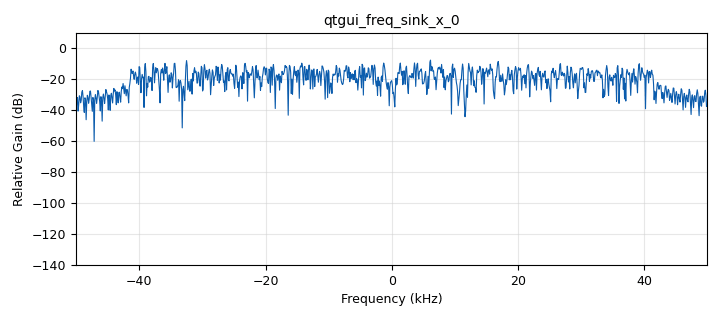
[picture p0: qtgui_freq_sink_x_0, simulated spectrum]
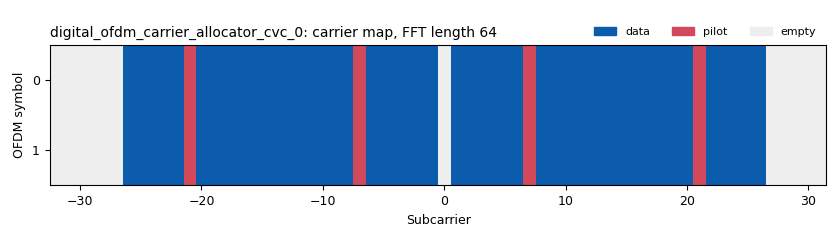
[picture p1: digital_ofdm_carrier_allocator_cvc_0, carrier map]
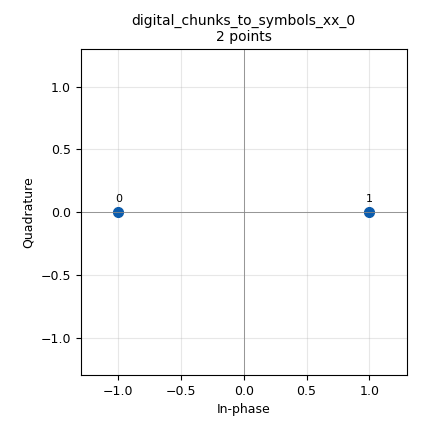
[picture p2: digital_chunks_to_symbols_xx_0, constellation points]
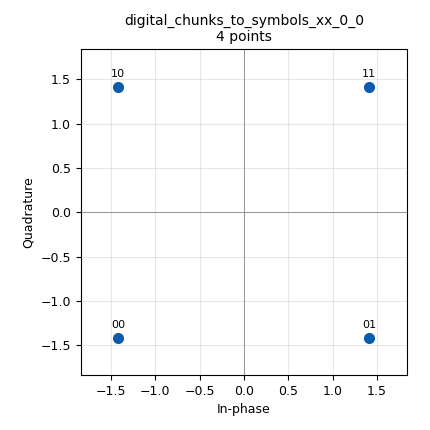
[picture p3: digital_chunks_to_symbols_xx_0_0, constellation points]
options:
  parameters:
    author: survivor
    generate_options: qt_gui
    id: OFDM
    output_language: python
    title: Not titled yet
  states: {}

blocks:
- name: fft_len
  id: variable
  parameters:
    value: '64'
  states: {}
- name: header_formatter
  id: variable
  parameters:
    value: digital.packet_header_ofdm(occupied_carriers, n_syms=1, len_tag_key=length_tag_key, frame_len_tag_key=length_tag_key, bits_per_header_sym=header_mod.bits_per_symbol(), bits_per_payload_sym=payload_mod.bits_per_symbol(), scramble_header=False)
  states: {}
- name: header_mod
  id: variable
  parameters:
    value: digital.constellation_bpsk()
  states: {}
- name: length_tag_key
  id: variable
  parameters:
    value: '"packet_length"'
  states: {}
- name: occupied_carriers
  id: variable
  parameters:
    value: (list(range(-26, -21)) + list(range(-20, -7)) + list(range(-6, 0)) + list(range(1, 7)) + list(range(8, 21)) + list(range(22, 27)),)
  states: {}
- name: packet_length
  id: variable
  parameters:
    value: '128'
  states: {}
- name: payload_mod
  id: variable
  parameters:
    value: digital.constellation_qpsk()
  states: {}
- name: pilot_carriers
  id: variable
  parameters:
    value: ((-21, -7, 7, 21,),)
  states: {}
- name: pilot_symbols
  id: variable
  parameters:
    value: ((1, 1, 1, -1,),)
  states: {}
- name: samp_rate
  id: variable
  parameters:
    value: '100000'
  states: {}
- name: sync_word1
  id: variable
  parameters:
    value: '[0., 0., 0., 0., 0., 0., 0., 1.41421356, 0., -1.41421356, 0., 1.41421356, 0., -1.41421356, 0., -1.41421356, 0., -1.41421356, 0., 1.41421356, 0., -1.41421356, 0., 1.41421356, 0., -1.41421356, 0., -1.41421356, 0., -1.41421356, 0., -1.41421356, 0., 1.41421356, 0., -1.41421356, 0., 1.41421356, 0., 1.41421356, 0., 1.41421356, 0., -1.41421356, 0., 1.41421356, 0., 1.41421356, 0., 1.41421356, 0., -1.41421356, 0., 1.41421356, 0., 1.41421356, 0., 1.41421356, 0., 0., 0., 0., 0., 0.]'
  states: {}
- name: sync_word2
  id: variable
  parameters:
    value: '[0, 0, 0, 0, 0, 0, -1, -1, -1, -1, 1, 1, -1, -1, -1, 1, -1, 1, 1, 1, 1, 1, -1, -1, -1, -1, -1, 1, -1, -1, 1, -1, 0, 1, -1, 1, 1, 1, -1, 1, 1, 1, -1, 1, 1, 1, 1, -1, 1, -1, -1, -1, 1, -1, 1, -1, -1, -1, -1, 0, 0, 0, 0, 0] '
  states: {}
- name: analog_random_source_x_0
  id: analog_random_source_x
  parameters:
    max: '255'
    min: '0'
    num_samps: '1000'
    repeat: 'True'
    type: byte
  states: {}
- name: blocks_repack_bits_bb_0
  id: blocks_repack_bits_bb
  parameters:
    endianness: gr.GR_LSB_FIRST
    k: '8'
    l: payload_mod.bits_per_symbol()
    len_tag_key: length_tag_key
  states: {}
- name: blocks_stream_to_tagged_stream_0
  id: blocks_stream_to_tagged_stream
  parameters:
    len_tag_key: '"packet_length"'
    packet_len: packet_length
    type: byte
  states: {}
- name: blocks_tagged_stream_mux_0
  id: blocks_tagged_stream_mux
  parameters:
    lengthtagname: length_tag_key
    ninputs: '2'
    type: complex
  states: {}
- name: blocks_throttle_0
  id: blocks_throttle
  parameters:
    samples_per_second: samp_rate
    type: byte
  states: {}
- name: digital_chunks_to_symbols_xx_0
  id: digital_chunks_to_symbols_xx
  parameters:
    dimension: '1'
    in_type: byte
    out_type: complex
    symbol_table: header_mod.points()
  states: {}
- name: digital_chunks_to_symbols_xx_0_0
  id: digital_chunks_to_symbols_xx
  parameters:
    dimension: '1'
    in_type: byte
    out_type: complex
    symbol_table: payload_mod.points()
  states: {}
- name: digital_crc32_bb_0
  id: digital_crc32_bb
  parameters:
    check: 'False'
    lengthtagname: length_tag_key
    packed: 'True'
  states: {}
- name: digital_header_payload_demux_0
  id: digital_header_payload_demux
  parameters:
    guard_interval: fft_len//4
    header_len: '3'
    header_padding: '0'
    items_per_symbol: fft_len
    length_tag_key: length_tag_key
    output_symbols: 'True'
    samp_rate: samp_rate
    special_tags: ()
    timing_tag_key: '"rx_time"'
    type: complex
  states: {state: disabled}
- name: digital_ofdm_carrier_allocator_cvc_0
  id: digital_ofdm_carrier_allocator_cvc
  parameters:
    fft_len: fft_len
    len_tag_key: length_tag_key
    occupied_carriers: occupied_carriers
    output_is_shifted: 'True'
    pilot_carriers: pilot_carriers
    pilot_symbols: pilot_symbols
    sync_words: (sync_word1,sync_word2)
  states: {}
- name: digital_ofdm_cyclic_prefixer_0
  id: digital_ofdm_cyclic_prefixer
  parameters:
    cp_len: fft_len//4
    input_size: fft_len
    tagname: length_tag_key
  states: {}
- name: digital_ofdm_sync_sc_cfb_0
  id: digital_ofdm_sync_sc_cfb
  parameters:
    cp_len: fft_len//4
    fft_len: fft_len
    threshold: '0.9'
  states: {state: disabled}
- name: digital_packet_headergenerator_bb_0
  id: digital_packet_headergenerator_bb
  parameters:
    header_formatter: header_formatter
    len_tag_key: length_tag_key
  states: {}
- name: fft_vxx_0
  id: fft_vxx
  parameters:
    comment: |-
      Gnu radio trata a posição dos valores na frequência 
      de maneira deslocada pela metade da frequência de nyquist.
    fft_size: fft_len
    forward: 'False'
    shift: 'True'
    type: complex
    window: ()
  states: {}
- name: notebooks_tab
  id: qtgui_tab_widget
  parameters:
    label0: Time
    label1: Frequency
    num_tabs: '2'
  states: {}
- name: qtgui_freq_sink_x_0
  id: qtgui_freq_sink_x
  parameters:
    bw: samp_rate
    fc: '0'
    fftsize: '1024'
    gui_hint: notebooks_tab@1
    type: complex
  states: {}
- name: qtgui_time_sink_x_0
  id: qtgui_time_sink_x
  parameters:
    autoscale: 'True'
    gui_hint: notebooks_tab@0
    size: '1024'
    srate: samp_rate
    tr_mode: qtgui.TRIG_MODE_TAG
    tr_tag: length_tag_key
    type: complex
  states: {}
- name: virtual_sink_0
  id: virtual_sink
  parameters:
    stream_id: header_bpsk
  states: {}
- name: virtual_sink_0_0
  id: virtual_sink
  parameters:
    stream_id: payload_qpsk
  states: {}
- name: virtual_sink_1
  id: virtual_sink
  parameters:
    stream_id: freq_symbols
  states: {}
- name: virtual_sink_2
  id: virtual_sink
  parameters:
    stream_id: OFDM_time_domain
  states: {}
- name: virtual_source_0
  id: virtual_source
  parameters:
    stream_id: header_bpsk
  states: {}
- name: virtual_source_0_0
  id: virtual_source
  parameters:
    stream_id: payload_qpsk
  states: {}
- name: virtual_source_1
  id: virtual_source
  parameters:
    stream_id: OFDM_time_domain
  states: {}
- name: virtual_source_1_0
  id: virtual_source
  parameters:
    stream_id: OFDM_time_domain
  states: {state: disabled}
- name: virtual_source_2
  id: virtual_source
  parameters:
    stream_id: freq_symbols
  states: {}

connections:
- [analog_random_source_x_0, '0', blocks_throttle_0, '0']
- [blocks_repack_bits_bb_0, '0', digital_chunks_to_symbols_xx_0_0, '0']
- [blocks_stream_to_tagged_stream_0, '0', blocks_repack_bits_bb_0, '0']
- [blocks_stream_to_tagged_stream_0, '0', digital_crc32_bb_0, '0']
- [blocks_tagged_stream_mux_0, '0', virtual_sink_1, '0']
- [blocks_throttle_0, '0', blocks_stream_to_tagged_stream_0, '0']
- [digital_chunks_to_symbols_xx_0, '0', virtual_sink_0, '0']
- [digital_chunks_to_symbols_xx_0_0, '0', virtual_sink_0_0, '0']
- [digital_crc32_bb_0, '0', digital_packet_headergenerator_bb_0, '0']
- [digital_ofdm_carrier_allocator_cvc_0, '0', fft_vxx_0, '0']
- [digital_ofdm_cyclic_prefixer_0, '0', virtual_sink_2, '0']
- [digital_packet_headergenerator_bb_0, '0', digital_chunks_to_symbols_xx_0, '0']
- [fft_vxx_0, '0', digital_ofdm_cyclic_prefixer_0, '0']
- [virtual_source_0, '0', blocks_tagged_stream_mux_0, '0']
- [virtual_source_0_0, '0', blocks_tagged_stream_mux_0, '1']
- [virtual_source_1, '0', qtgui_freq_sink_x_0, '0']
- [virtual_source_1, '0', qtgui_time_sink_x_0, '0']
- [virtual_source_1_0, '0', digital_ofdm_sync_sc_cfb_0, '0']
- [virtual_source_2, '0', digital_ofdm_carrier_allocator_cvc_0, '0']

metadata:
  file_format: 1
  grc_version: 3.9.8.0
